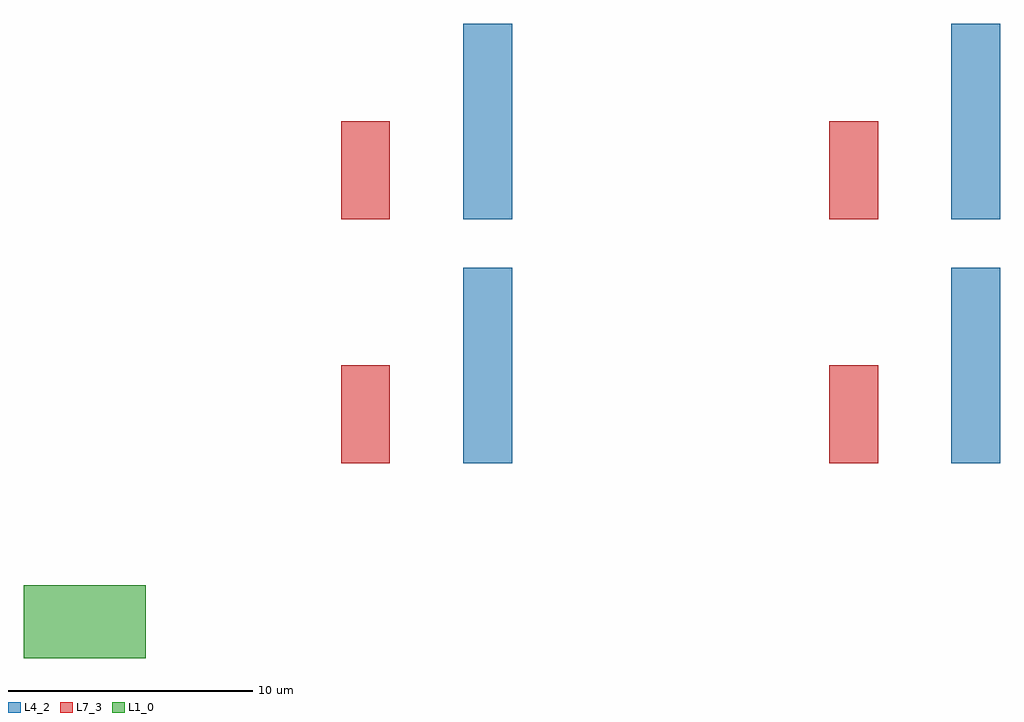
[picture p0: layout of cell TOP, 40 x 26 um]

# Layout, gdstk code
from math import pi, radians
import gdstk
lib = gdstk.Library(unit=1e-6, precision=1e-09)
def R(c, l, rs):  # rectangles x0, y0, x1, y1
    for r in rs: c.add(gdstk.rectangle(r[:2], r[2:], *l))
L1_0 = (1, 0)
L4_2 = (4, 2)
L7_3 = (7, 3)

leaf = lib.new_cell('LEAF')
R(leaf, L7_3, [(0,0,2,1)])
leaf.add(gdstk.FlexPath([(0,3),(4,3)], 1, ends="flush", simple_path=True, layer=4, datatype=2))  # L4_2

child = lib.new_cell('CHILD')
child.add(gdstk.Reference(leaf, (1,2), rotation=pi/2, magnification=2, x_reflection=True))

top = lib.new_cell('TOP')
R(top, L1_0, [(-2,-1,3,2)])
r = gdstk.Reference(child, (10,5)); r.repetition = gdstk.Repetition(2, 2, v1=(20,0), v2=(0,10)); top.add(r)

lib.write_gds('TOP.gds')
